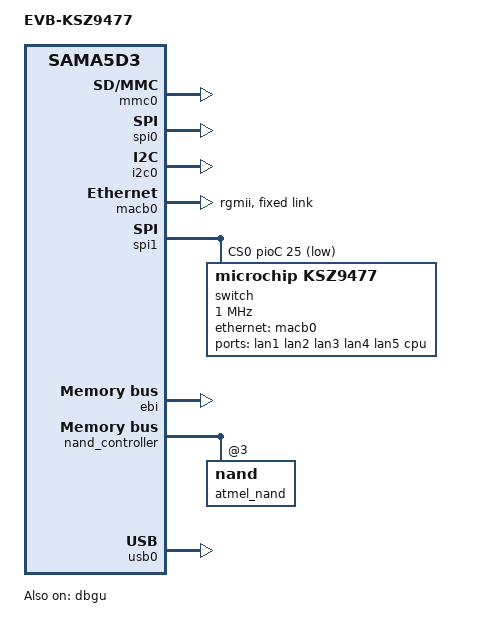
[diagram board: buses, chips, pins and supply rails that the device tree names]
/*
 * at91-sama5d3_xplained_ung8071.dts - Device Tree file for the EVB-KSZ9477 board
 *
 *  Copyright (C) 2014 Atmel,
 *		  2014 Nicolas Ferre <nicolas.ferre@atmel.com>
 *		  2018 Ahmad Fatoum <a.fatoum@pengutronix.de>
 *
 * Licensed under GPLv2 or later.
 */
/dts-v1/;
#include "sama5d36.dtsi"

/ {
	model = "EVB-KSZ9477";
	compatible = "atmel,sama5d3-ksz9477-evb", "atmel,sama5d3", "atmel,sama5";

	chosen {
		stdout-path = &dbgu;
	};

	clocks {
		slow_xtal {
			clock-frequency = <32768>;
		};

		main_xtal {
			clock-frequency = <12000000>;
		};
	};
};

&mmc0 {
	pinctrl-0 = <&pinctrl_mmc0_clk_cmd_dat0 &pinctrl_mmc0_dat1_3 &pinctrl_mmc0_dat4_7 &pinctrl_mmc0_cd>;
	status = "okay";
	slot@0 {
		reg = <0>;
		bus-width = <8>;
		/* cd-gpios = <&pioE 0 GPIO_ACTIVE_LOW>; */
		broken-cd;
	};
};

&spi0 {
	cs-gpios = <&pioD 13 GPIO_ACTIVE_LOW>, <0>, <0>,
	           <&pioD 16 GPIO_ACTIVE_LOW>;
	status = "okay";
};

&i2c0 {
	pinctrl-0 = <&pinctrl_i2c0_pu>;
	status = "okay";
};

&macb0 {
	phy-mode = "rgmii";
	status = "okay";

	fixed-link {
		speed = <1000>;
		full-duplex;
	};
};

&spi1 {
	pinctrl-0 = <&pinctrl_spi_ksz>;
	cs-gpios = <&pioC 25 GPIO_ACTIVE_LOW>;
	status = "okay";

	switch@0 {
		compatible = "microchip,ksz9477", "microchip,ksz9893";
		reg = <0>;

		/* Bus clock is 132 MHz. */
		spi-max-frequency = <1000000>;
		spi-cpha;
		spi-cpol;
		/* reset-gpios = <&pioC 31 GPIO_ACTIVE_LOW>; */
		/* IRQ gpios = <&pioB 28 GPIO_ACTIVE_LOW>; */
		status = "okay";

		ports {
			#address-cells = <1>;
			#size-cells = <0>;

			port@0 {
				reg = <0>;
				label = "lan1";
			};

			port@1 {
				reg = <1>;
				label = "lan2";
			};

			port@2 {
				reg = <2>;
				label = "lan3";
			};

			port@3 {
				reg = <3>;
				label = "lan4";
			};

			port@4 {
				reg = <4>;
				label = "lan5";
			};

			port@5 {
				reg = <5>;
				label = "cpu";
				ethernet = <&macb0>;
				phy-mode = "rgmii-txid";

				fixed-link {
					speed = <1000>;
					full-duplex;
				};
			};
		};
	};
};

&dbgu {
	status = "okay";
};

&ebi {
	pinctrl-0 = <&pinctrl_ebi_nand_addr>;
	pinctrl-names = "default";
	status = "okay";
};

&nand_controller {
	status = "okay";

	nand@3 {
		reg = <0x3 0x0 0x2>;
		atmel,rb = <0>;
		nand-bus-width = <8>;
		nand-ecc-mode = "hw";
		nand-ecc-strength = <4>;
		nand-ecc-step-size = <512>;
		nand-on-flash-bbt;
		label = "atmel_nand";
	};
};

&usb0 {
	pinctrl-names = "default";
	pinctrl-0 = <&pinctrl_usba_vbus>;
	atmel,vbus-gpio = <&pioE 9 GPIO_ACTIVE_HIGH>;	/* PE9, conflicts with A9 */
	status = "okay";
};

&pinctrl {
	board {
		pinctrl_i2c0_pu: i2c0_pu {
			atmel,pins =
				<AT91_PIOA 30 AT91_PERIPH_A AT91_PINCTRL_PULL_UP>,
				<AT91_PIOA 31 AT91_PERIPH_A AT91_PINCTRL_PULL_UP>;
		};

		pinctrl_mmc0_cd: mmc0_cd {
			atmel,pins =
				<AT91_PIOE 0 AT91_PERIPH_GPIO AT91_PINCTRL_PULL_UP_DEGLITCH>;
		};

		pinctrl_usba_vbus: usba_vbus {
			atmel,pins =
				<AT91_PIOE 9 AT91_PERIPH_GPIO AT91_PINCTRL_DEGLITCH>;	/* PE9, conflicts with A9 */
		};

		pinctrl_spi_ksz: spi-ksz {
			atmel,pins =
				<
				AT91_PIOC 22 AT91_PERIPH_A AT91_PINCTRL_PULL_UP	/* PC22 periph A SPI1_MISO pin */
				AT91_PIOC 23 AT91_PERIPH_A AT91_PINCTRL_NONE	/* PC23 periph A SPI1_MOSI pin */
				AT91_PIOC 24 AT91_PERIPH_A AT91_PINCTRL_NONE	/* PC24 periph A SPI1_SPCK pin */

				/* SPI CS */
				AT91_PIOC 25 AT91_PERIPH_GPIO AT91_PINCTRL_NONE
				/* switch IRQ */
				AT91_PIOB 28 AT91_PERIPH_GPIO AT91_PINCTRL_DEGLITCH
				/* switch PME_N, SoC IN */
				AT91_PIOC 30 AT91_PERIPH_GPIO AT91_PINCTRL_PULL_UP
				/* switch RST */
				AT91_PIOC 31 AT91_PERIPH_GPIO AT91_PINCTRL_PULL_UP_DEGLITCH
				>;
		};
	};
};
